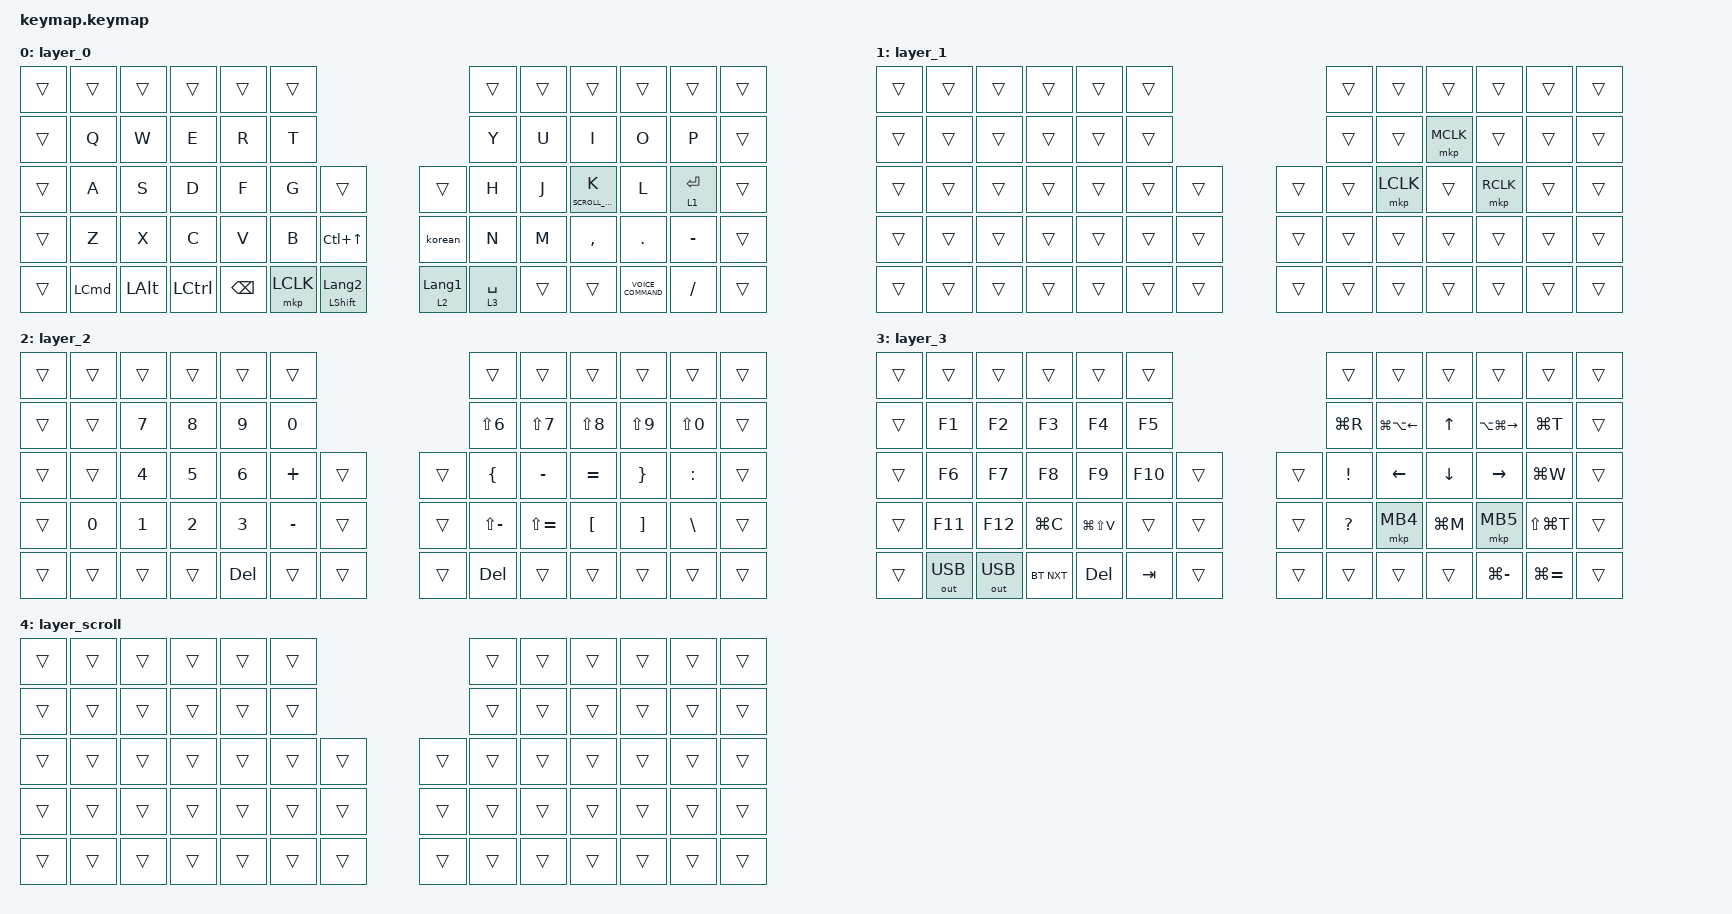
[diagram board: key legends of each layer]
#include <dt-bindings/zmk/input_transform.h>
#include <input/processors.dtsi>
#include <behaviors.dtsi>
#include <dt-bindings/zmk/bt.h>
#include <dt-bindings/zmk/keys.h>
#include <dt-bindings/zmk/outputs.h>
#include <dt-bindings/zmk/pointing.h>

#define SCROLL_LAYER 4
#define AML_LAYER 1 /* オートマウスレイヤー＝layer_1（トラボを動かすと自動で乗る） */

&pointing_listener {
    /* 親の input-processors はシールド側(torabo_tsuki_lp_right.overlay)の指定を
       そのまま引き継いだうえで、末尾に zip_temp_layer を足している。
       <レイヤー番号 滞留ms> = トラボが止まってから5秒でAMLが剥がれる。 */
    input-processors =
        <&zip_xy_transform (INPUT_TRANSFORM_X_INVERT | INPUT_TRANSFORM_Y_INVERT)>,
        <&zip_temp_layer AML_LAYER 5000>;

    /* K長押し(SCROLL_LAYER)中はこちらがマッチして、上の input-processors は走らない。
       ＝スクロール中にAMLが誤発動することもない。 */
    scroll {
        layers = <SCROLL_LAYER>;
        input-processors =
            <&zip_xy_transform INPUT_TRANSFORM_X_INVERT>,
            <&zip_xy_to_scroll_mapper>,
            <&zip_scroll_scaler 1 8>;
    };
};

&zip_temp_layer {
    /* 直前のキー入力から何ms以内ならAMLに入らないか。タイピング中の誤爆防止。 */
    require-prior-idle-ms = <350>;

    /* AMLを「解除しない」キー位置のリスト。
       ここに載っていないキーを押すと即座に AML_LAYER が剥がれる。
       layer_1 で &trans 以外にした位置は、原則すべてここに並べること。
       （除外位置を押しても5秒のタイマーは延長されない。延長されるのはトラボ操作のみ） */
    excluded-positions = <
        20  /* row1: I → &mkp MCLK */
        33  /* row2: J → &mkp LCLK */
        34  /* row2: K → AMLでは &trans。除外しておくと、AMLを保ったまま
               layer_0 の &lt SCROLL_LAYER K でスクロールに入れる */
        35  /* row2: L → &mkp RCLK */

        53  /* row4: LCMD  ┐ */
        54  /* row4: LALT  │ 修飾キーは除外。cmd+クリック / shift+クリックの途中で */
        55  /* row4: LCTRL │ AMLが剥がれてクリックがただの文字入力になるのを防ぐ */
        58  /* row4: &mt LEFT_SHIFT LANG2 ┘ */
        57  /* row4: &mkp LCLK（親指クリック）。押してもAMLを維持したいので除外 */
    >;
};

/ {
    combos {
        compatible = "zmk,combos";

        bt_clear {
            bindings = <&bt BT_CLR>;
            key-positions = <28 29>;
            layers = <2>;
        };

        COMBO_ESC {
            bindings = <&kp ESC>;
            key-positions = <13 14>;
        };

        COMBO_TAB {
            bindings = <&kp TAB>;
            key-positions = <26 25>;
        };

        COMBO_LCLK {
            bindings = <&mkp LCLK>;
            key-positions = <33 34>;
        };
    };

    macros {
        korean: korean {
            compatible = "zmk,behavior-macro";
            #binding-cells = <0>;
            bindings = <&kp LANG2 &kp LC(LA(SPACE))>;
            label = "KOREAN";
        };
    };

    keymap {
        compatible = "zmk,keymap";

        layer_0 {
            bindings = <
&trans  &trans    &trans        &trans     &trans         &trans                                                  &trans       &trans  &trans              &trans               &trans       &trans
&trans  &kp Q     &kp W         &kp E      &kp R          &kp T                                                   &kp Y        &kp U   &kp I               &kp O                &kp P        &trans
&trans  &kp A     &kp S         &kp D      &kp F          &kp G      &trans                     &trans            &kp H        &kp J   &lt SCROLL_LAYER K  &kp L                &lt 1 ENTER  &trans
&trans  &kp Z     &kp X         &kp C      &kp V          &kp B      &kp LC(UP_ARROW)           &korean           &kp N        &kp M   &kp COMMA           &kp DOT              &kp MINUS    &trans
&trans  &kp LCMD  &kp LEFT_ALT  &kp LCTRL  &kp BACKSPACE  &mkp LCLK  &mt LEFT_SHIFT LANGUAGE_2  &lt 2 LANGUAGE_1  &lt 3 SPACE  &trans  &trans              &kp C_VOICE_COMMAND  &kp SLASH    &trans
            >;
        };

        /* マウスレイヤー。Enter長押し(&lt 1 ENTER)で手動、
           トラボを動かすと zip_temp_layer で自動（AML）でも乗る。
           中クリックは I(pos 20)。K(pos 34) は &trans のまま
           ＝AML中でもK長押しでスクロールに入れるため。
           ここを &trans 以外にしたら excluded-positions にも位置番号を足すこと。 */

        layer_1 {
            bindings = <
&trans  &trans  &trans  &trans  &trans  &trans                  &trans  &trans     &trans     &trans     &trans  &trans
&trans  &trans  &trans  &trans  &trans  &trans                  &trans  &trans     &mkp MCLK  &trans     &trans  &trans
&trans  &trans  &trans  &trans  &trans  &trans  &trans  &trans  &trans  &mkp LCLK  &trans     &mkp RCLK  &trans  &trans
&trans  &trans  &trans  &trans  &trans  &trans  &trans  &trans  &trans  &trans     &trans     &trans     &trans  &trans
&trans  &trans  &trans  &trans  &trans  &trans  &trans  &trans  &trans  &trans     &trans     &trans     &trans  &trans
            >;
        };

        layer_2 {
            bindings = <
&trans  &trans  &trans  &trans  &trans      &trans                     &trans          &trans         &trans            &trans             &trans         &trans
&trans  &trans  &kp N7  &kp N8  &kp N9      &kp N0                     &kp LS(N6)      &kp LS(N7)     &kp LS(N8)        &kp LS(N9)         &kp LS(N0)     &trans
&trans  &trans  &kp N4  &kp N5  &kp N6      &kp PLUS   &trans  &trans  &kp LEFT_BRACE  &kp MINUS      &kp EQUAL         &kp RIGHT_BRACE    &kp COLON      &trans
&trans  &kp N0  &kp N1  &kp N2  &kp N3      &kp MINUS  &trans  &trans  &kp LS(MINUS)   &kp LS(EQUAL)  &kp LEFT_BRACKET  &kp RIGHT_BRACKET  &kp BACKSLASH  &trans
&trans  &trans  &trans  &trans  &kp DELETE  &trans     &trans  &trans  &kp DELETE      &trans         &trans            &trans             &trans         &trans
            >;
        };

        layer_3 {
            bindings = <
&trans  &trans        &trans        &trans      &trans         &trans                   &trans           &trans                  &trans          &trans                   &trans         &trans
&trans  &kp F1        &kp F2        &kp F3      &kp F4         &kp F5                   &kp LG(R)        &kp LG(LA(LEFT_ARROW))  &kp UP_ARROW    &kp LA(LG(RIGHT_ARROW))  &kp LG(T)      &trans
&trans  &kp F6        &kp F7        &kp F8      &kp F9         &kp F10  &trans  &trans  &kp EXCLAMATION  &kp LEFT_ARROW          &kp DOWN_ARROW  &kp RIGHT                &kp LG(W)      &trans
&trans  &kp F11       &kp F12       &kp LG(C)   &kp LG(LS(V))  &trans   &trans  &trans  &kp QUESTION     &mkp MB4                &kp LG(M)       &mkp MB5                 &kp LS(LG(T))  &trans
&trans  &out OUT_USB  &out OUT_USB  &bt BT_NXT  &kp DELETE     &kp TAB  &trans  &trans  &trans           &trans                  &trans          &kp LG(MINUS)            &kp LG(EQUAL)  &trans
            >;
        };

        layer_scroll {
            bindings = <
&trans  &trans  &trans  &trans  &trans  &trans                  &trans  &trans  &trans  &trans  &trans  &trans
&trans  &trans  &trans  &trans  &trans  &trans                  &trans  &trans  &trans  &trans  &trans  &trans
&trans  &trans  &trans  &trans  &trans  &trans  &trans  &trans  &trans  &trans  &trans  &trans  &trans  &trans
&trans  &trans  &trans  &trans  &trans  &trans  &trans  &trans  &trans  &trans  &trans  &trans  &trans  &trans
&trans  &trans  &trans  &trans  &trans  &trans  &trans  &trans  &trans  &trans  &trans  &trans  &trans  &trans
            >;
        };
    };
};
